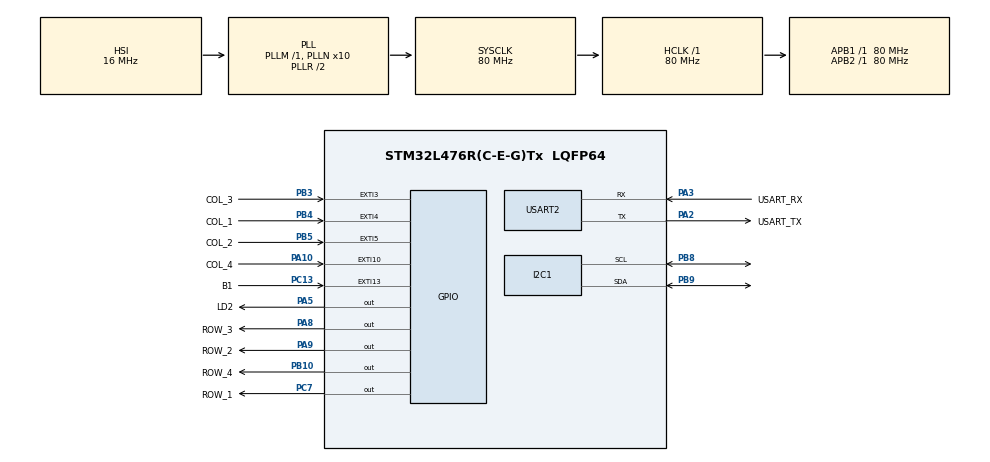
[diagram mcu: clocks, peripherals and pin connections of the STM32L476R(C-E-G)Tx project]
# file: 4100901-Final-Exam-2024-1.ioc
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I2C1.Timing=0x10909CEC
Mcu.Family=STM32L4
Mcu.Name=STM32L476R(C-E-G)Tx
Mcu.Package=LQFP64
NVIC.EXTI15_10_IRQn=true\:0\:0\:false\:false\:true\:true\:true\:true
NVIC.EXTI3_IRQn=true\:0\:0\:false\:false\:true\:true\:true\:true
NVIC.EXTI4_IRQn=true\:0\:0\:false\:false\:true\:true\:true\:true
NVIC.EXTI9_5_IRQn=true\:0\:0\:false\:false\:true\:true\:true\:true
NVIC.I2C1_ER_IRQn=true\:0\:0\:false\:false\:true\:true\:true\:true
NVIC.I2C1_EV_IRQn=true\:0\:0\:false\:false\:true\:true\:true\:true
NVIC.PriorityGroup=NVIC_PRIORITYGROUP_4
NVIC.USART2_IRQn=true\:0\:0\:false\:false\:true\:true\:true\:true
PA10.GPIO_Label=COL_4
PA10.GPIO_ModeDefaultEXTI=GPIO_MODE_IT_RISING
PA10.GPIO_PuPd=GPIO_PULLDOWN
PA10.Signal=GPXTI10
PA13\ (JTMS-SWDIO).GPIO_Label=TMS
PA13\ (JTMS-SWDIO).Mode=Serial_Wire
PA13\ (JTMS-SWDIO).Signal=SYS_JTMS-SWDIO
PA14\ (JTCK-SWCLK).GPIO_Label=TCK
PA14\ (JTCK-SWCLK).Mode=Serial_Wire
PA14\ (JTCK-SWCLK).Signal=SYS_JTCK-SWCLK
PA2.GPIO_Label=USART_TX
PA2.GPIO_Mode=GPIO_MODE_AF_PP
PA2.GPIO_PuPd=GPIO_NOPULL
PA2.GPIO_Speed=GPIO_SPEED_FREQ_VERY_HIGH
PA2.Mode=Asynchronous
PA2.Signal=USART2_TX
PA3.GPIO_Label=USART_RX
PA3.GPIO_Mode=GPIO_MODE_AF_PP
PA3.GPIO_PuPd=GPIO_NOPULL
PA3.GPIO_Speed=GPIO_SPEED_FREQ_VERY_HIGH
PA3.Mode=Asynchronous
PA3.Signal=USART2_RX
PA5.GPIO_Label=LD2
PA5.GPIO_ModeDefaultOutputPP=GPIO_MODE_OUTPUT_PP
PA5.GPIO_PuPd=GPIO_NOPULL
PA5.GPIO_Speed=GPIO_SPEED_FREQ_LOW
PA5.Signal=GPIO_Output
PA8.GPIO_Label=ROW_3
PA8.GPIO_Speed=GPIO_SPEED_FREQ_VERY_HIGH
PA8.PinState=GPIO_PIN_SET
PA8.Signal=GPIO_Output
PA9.GPIO_Label=ROW_2
PA9.GPIO_Speed=GPIO_SPEED_FREQ_VERY_HIGH
PA9.PinState=GPIO_PIN_SET
PA9.Signal=GPIO_Output
PB10.GPIO_Label=ROW_4
PB10.GPIO_Speed=GPIO_SPEED_FREQ_VERY_HIGH
PB10.PinState=GPIO_PIN_SET
PB10.Signal=GPIO_Output
PB3\ (JTDO-TRACESWO).GPIO_Label=COL_3
PB3\ (JTDO-TRACESWO).GPIO_ModeDefaultEXTI=GPIO_MODE_IT_RISING
PB3\ (JTDO-TRACESWO).GPIO_PuPd=GPIO_PULLDOWN
PB3\ (JTDO-TRACESWO).Signal=GPXTI3
PB4\ (NJTRST).GPIO_Label=COL_1
PB4\ (NJTRST).GPIO_ModeDefaultEXTI=GPIO_MODE_IT_RISING
PB4\ (NJTRST).GPIO_PuPd=GPIO_PULLDOWN
PB4\ (NJTRST).Signal=GPXTI4
PB5.GPIO_Label=COL_2
PB5.GPIO_ModeDefaultEXTI=GPIO_MODE_IT_RISING
PB5.GPIO_PuPd=GPIO_PULLDOWN
PB5.Signal=GPXTI5
PB8.Mode=I2C
PB8.Signal=I2C1_SCL
PB9.Mode=I2C
PB9.Signal=I2C1_SDA
PC13.GPIO_Label=B1
PC13.GPIO_ModeDefaultEXTI=GPIO_MODE_IT_FALLING
PC13.GPIO_PuPd=GPIO_NOPULL
PC13.Signal=GPXTI13
PC14-OSC32_IN\ (PC14).Mode=LSE-External-Oscillator
PC14-OSC32_IN\ (PC14).Signal=RCC_OSC32_IN
PC15-OSC32_OUT\ (PC15).Mode=LSE-External-Oscillator
PC15-OSC32_OUT\ (PC15).Signal=RCC_OSC32_OUT
PC7.GPIO_Label=ROW_1
PC7.GPIO_Speed=GPIO_SPEED_FREQ_VERY_HIGH
PC7.PinState=GPIO_PIN_SET
PC7.Signal=GPIO_Output
PH0-OSC_IN\ (PH0).Signal=RCC_OSC_IN
PH1-OSC_OUT\ (PH1).Signal=RCC_OSC_OUT
ProjectManager.HeapSize=0x200
ProjectManager.StackSize=0x400
ProjectManager.TargetToolchain=STM32CubeIDE
RCC.ADCFreq_Value=64000000
RCC.AHBFreq_Value=80000000
RCC.APB1Freq_Value=80000000
RCC.APB1TimFreq_Value=80000000
RCC.APB2Freq_Value=80000000
RCC.APB2TimFreq_Value=80000000
RCC.CortexFreq_Value=80000000
RCC.HCLKFreq_Value=80000000
RCC.HSE_VALUE=8000000
RCC.HSI_VALUE=16000000
RCC.MSI_VALUE=4000000
RCC.PLLN=10
RCC.PLLSourceVirtual=RCC_PLLSOURCE_HSI
RCC.PREFETCH_ENABLE=1
RCC.SYSCLKFreq_VALUE=80000000
RCC.SYSCLKSource=RCC_SYSCLKSOURCE_PLLCLK
RCC.USBFreq_Value=64000000
RCC.VCOOutputFreq_Value=160000000
USART2.VirtualMode-Asynchronous=VM_ASYNC
board=NUCLEO-L476RG

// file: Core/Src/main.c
/* USER CODE BEGIN Header */
/**
  ******************************************************************************
  * @file           : main.c
  * @brief          : Main program body
  ******************************************************************************
  * @attention
  *
  * Copyright (c) 2024 STMicroelectronics.
  * All rights reserved.
  *
  * This software is licensed under terms that can be found in the LICENSE file
  * in the root directory of this software component.
  * If no LICENSE file comes with this software, it is provided AS-IS.
  *
  ******************************************************************************
  */
/* USER CODE END Header */
#include "main.h"

/* USER CODE BEGIN Includes */
#include <stdio.h>

#include "ssd1306.h"
#include "ssd1306_fonts.h"

#include "ring_buffer.h"
#include "keypad.h"
/* USER CODE END Includes */

I2C_HandleTypeDef hi2c1;

UART_HandleTypeDef huart2;

/* USER CODE BEGIN PV */
#define KEYPAD_RB_LEN 4
uint8_t keypad_data = 0xFF;
uint8_t keypad_buffer[KEYPAD_RB_LEN];
ring_buffer_t keypad_rb;

#define USART2_RB_LEN 6
uint8_t usart2_data = 0xFF;
uint8_t usart2_buffer[USART2_RB_LEN];
ring_buffer_t usart2_rb;

uint8_t button = 0;
/* USER CODE END PV */

void SystemClock_Config(void);
static void MX_GPIO_Init(void);
static void MX_USART2_UART_Init(void);
static void MX_I2C1_Init(void);

/* USER CODE BEGIN 0 */
int _write(int file, char *ptr, int len)
{
  HAL_UART_Transmit(&huart2, (uint8_t *)ptr, len, 10);
  return len;
}

void HAL_UART_RxCpltCallback(UART_HandleTypeDef *huart)
{
	/* Data received in USART2 */
	if (huart->Instance == USART2) {
		if (usart2_data >= '0' && usart2_data <= '9') {
			ring_buffer_write(&usart2_rb, usart2_data);
			if (ring_buffer_is_full(&usart2_rb) != 0) {
				printf("LAST TEC: %c\r\n", usart2_data);
				if(usart2_data == '#'){
					ring_buffer_reset(&usart2_rb);
				}
			}
		}
		HAL_UART_Receive_IT(&huart2, &usart2_data, 1);
	}
}

void HAL_GPIO_EXTI_Callback(uint16_t GPIO_Pin)
{
	if (GPIO_Pin == B1_Pin) {
		button = 1;
		return;
	}
	uint8_t key_pressed = keypad_scan(GPIO_Pin);
	if (key_pressed != 0xFF) {
		ring_buffer_write(&keypad_rb, keypad_data);

		printf("ENTER KEY: %c\r\n", key_pressed);
		if (ring_buffer_is_full(&keypad_rb) != 0) {
			printf("LAST KEY: %c\r\n", key_pressed);
			if(key_pressed == '*'){
				ring_buffer_reset(&keypad_rb);
			}

		}
	}
}
/* USER CODE END 0 */

int main(void)
{

  /* MCU Configuration--------------------------------------------------------*/

  /* Reset of all peripherals, Initializes the Flash interface and the Systick. */
  HAL_Init();

  /* Configure the system clock */
  SystemClock_Config();

  /* Initialize all configured peripherals */
  MX_GPIO_Init();
  MX_USART2_UART_Init();
  MX_I2C1_Init();

  ring_buffer_init(&usart2_rb, usart2_buffer, USART2_RB_LEN);
  ring_buffer_init(&keypad_rb, keypad_buffer, KEYPAD_RB_LEN);
  /* USER CODE BEGIN 2 */
  ssd1306_Init();
  ssd1306_FillRectangle(37, 50, 97, 20, Black);
  ssd1306_SetCursor(40, 30);
  ssd1306_WriteString("Welcome!", Font_7x10, White);
  ssd1306_UpdateScreen();

  HAL_UART_Receive_IT(&huart2, &usart2_data, 1);
  /* USER CODE END 2 */

  /* Infinite loop */
  /* USER CODE BEGIN WHILE */
  printf("Starting\r\n");
  while (1)
  {
	  // Se almacean todos los datos en el array data
	  	  static uint8_t data[10];

	  // Si los dos ring buffers están llenos, se leen todos los datos
	  while (ring_buffer_is_full(&usart2_rb) == 1 && ring_buffer_is_full(&keypad_rb) == 1) {
		  printf("ENTRÉ !! : %c\r\n");
	// Se guarda el último valor de cada ring buffer
	  uint8_t read_key;
	  uint8_t read_tec;

	  // Se realiza un recorrido del total de los datos en cada ring buffer
	  for (uint8_t i = 0; i <= 10; i++){
		  // Primero se recorre el ring buffer del key pad
	  		  if(i >= 0 && i <4){
	  			ring_buffer_read(&keypad_rb, &read_key);
	  			data[i] = read_key;
	  		  }
	  		  // Luego el del usart
	  		if(i >= 4 && i <10){
	  			ring_buffer_read(&usart2_rb, &read_tec);
				data[i] = read_tec;
			  }
	  };

	  }
	  // Verificamos si el botón fue presionado
	  if(button == 1){
		  printf("PRESSS!!: %c\r\n");
		  // Se llama la función para hacer la suma y se guarda en la variable suma
		  uint32_t suma = keypad_sum(data);
		  printf("SUMA TOTAL: %d\r\n", suma);

		  // Si hay algo escrito, se borra:
		  ssd1306_FillRectangle(37, 50, 97, 20, Black);
		  ssd1306_SetCursor(40, 30);
		  ssd1306_UpdateScreen();

		  // Se escribe el mensaje en el ssd
		  ssd1306_WriteString("Success!", Font_7x10, White);
		  ssd1306_UpdateScreen();

		  // Se realiza la operación residuo para verificar que la suma sea par o impar
		  if(suma%2 == 0){
			  HAL_GPIO_WritePin(LD2_GPIO_Port, LD2_Pin, GPIO_PIN_SET);
		  }else{
			  HAL_GPIO_WritePin(LD2_GPIO_Port, LD2_Pin, GPIO_PIN_RESET);
		  }
		  button = 0;
	  }
    /* USER CODE END WHILE */

  }
}

void SystemClock_Config(void)
{
  RCC_OscInitTypeDef RCC_OscInitStruct = {0};
  RCC_ClkInitTypeDef RCC_ClkInitStruct = {0};

  /** Configure the main internal regulator output voltage
  */
  if (HAL_PWREx_ControlVoltageScaling(PWR_REGULATOR_VOLTAGE_SCALE1) != HAL_OK)
  {
    Error_Handler();
  }

  /** Initializes the RCC Oscillators according to the specified parameters
  * in the RCC_OscInitTypeDef structure.
  */
  RCC_OscInitStruct.OscillatorType = RCC_OSCILLATORTYPE_HSI;
  RCC_OscInitStruct.HSIState = RCC_HSI_ON;
  RCC_OscInitStruct.HSICalibrationValue = RCC_HSICALIBRATION_DEFAULT;
  RCC_OscInitStruct.PLL.PLLState = RCC_PLL_ON;
  RCC_OscInitStruct.PLL.PLLSource = RCC_PLLSOURCE_HSI;
  RCC_OscInitStruct.PLL.PLLM = 1;
  RCC_OscInitStruct.PLL.PLLN = 10;
  RCC_OscInitStruct.PLL.PLLP = RCC_PLLP_DIV7;
  RCC_OscInitStruct.PLL.PLLQ = RCC_PLLQ_DIV2;
  RCC_OscInitStruct.PLL.PLLR = RCC_PLLR_DIV2;
  if (HAL_RCC_OscConfig(&RCC_OscInitStruct) != HAL_OK)
  {
    Error_Handler();
  }

  /** Initializes the CPU, AHB and APB buses clocks
  */
  RCC_ClkInitStruct.ClockType = RCC_CLOCKTYPE_HCLK|RCC_CLOCKTYPE_SYSCLK
                              |RCC_CLOCKTYPE_PCLK1|RCC_CLOCKTYPE_PCLK2;
  RCC_ClkInitStruct.SYSCLKSource = RCC_SYSCLKSOURCE_PLLCLK;
  RCC_ClkInitStruct.AHBCLKDivider = RCC_SYSCLK_DIV1;
  RCC_ClkInitStruct.APB1CLKDivider = RCC_HCLK_DIV1;
  RCC_ClkInitStruct.APB2CLKDivider = RCC_HCLK_DIV1;

  if (HAL_RCC_ClockConfig(&RCC_ClkInitStruct, FLASH_LATENCY_4) != HAL_OK)
  {
    Error_Handler();
  }
}

static void MX_I2C1_Init(void)
{

  hi2c1.Instance = I2C1;
  hi2c1.Init.Timing = 0x10909CEC;
  hi2c1.Init.OwnAddress1 = 0;
  hi2c1.Init.AddressingMode = I2C_ADDRESSINGMODE_7BIT;
  hi2c1.Init.DualAddressMode = I2C_DUALADDRESS_DISABLE;
  hi2c1.Init.OwnAddress2 = 0;
  hi2c1.Init.OwnAddress2Masks = I2C_OA2_NOMASK;
  hi2c1.Init.GeneralCallMode = I2C_GENERALCALL_DISABLE;
  hi2c1.Init.NoStretchMode = I2C_NOSTRETCH_DISABLE;
  if (HAL_I2C_Init(&hi2c1) != HAL_OK)
  {
    Error_Handler();
  }

  /** Configure Analogue filter
  */
  if (HAL_I2CEx_ConfigAnalogFilter(&hi2c1, I2C_ANALOGFILTER_ENABLE) != HAL_OK)
  {
    Error_Handler();
  }

  /** Configure Digital filter
  */
  if (HAL_I2CEx_ConfigDigitalFilter(&hi2c1, 0) != HAL_OK)
  {
    Error_Handler();
  }

}

static void MX_USART2_UART_Init(void)
{

  huart2.Instance = USART2;
  huart2.Init.BaudRate = 115200;
  huart2.Init.WordLength = UART_WORDLENGTH_8B;
  huart2.Init.StopBits = UART_STOPBITS_1;
  huart2.Init.Parity = UART_PARITY_NONE;
  huart2.Init.Mode = UART_MODE_TX_RX;
  huart2.Init.HwFlowCtl = UART_HWCONTROL_NONE;
  huart2.Init.OverSampling = UART_OVERSAMPLING_16;
  huart2.Init.OneBitSampling = UART_ONE_BIT_SAMPLE_DISABLE;
  huart2.AdvancedInit.AdvFeatureInit = UART_ADVFEATURE_NO_INIT;
  if (HAL_UART_Init(&huart2) != HAL_OK)
  {
    Error_Handler();
  }

}

static void MX_GPIO_Init(void)
{
  GPIO_InitTypeDef GPIO_InitStruct = {0};

  /* GPIO Ports Clock Enable */
  __HAL_RCC_GPIOC_CLK_ENABLE();
  __HAL_RCC_GPIOH_CLK_ENABLE();
  __HAL_RCC_GPIOA_CLK_ENABLE();
  __HAL_RCC_GPIOB_CLK_ENABLE();

  /*Configure GPIO pin Output Level */
  HAL_GPIO_WritePin(LD2_GPIO_Port, LD2_Pin, GPIO_PIN_RESET);

  /*Configure GPIO pin Output Level */
  HAL_GPIO_WritePin(ROW_4_GPIO_Port, ROW_4_Pin, GPIO_PIN_SET);

  /*Configure GPIO pin Output Level */
  HAL_GPIO_WritePin(ROW_1_GPIO_Port, ROW_1_Pin, GPIO_PIN_SET);

  /*Configure GPIO pin Output Level */
  HAL_GPIO_WritePin(GPIOA, ROW_3_Pin|ROW_2_Pin, GPIO_PIN_SET);

  /*Configure GPIO pin : B1_Pin */
  GPIO_InitStruct.Pin = B1_Pin;
  GPIO_InitStruct.Mode = GPIO_MODE_IT_FALLING;
  GPIO_InitStruct.Pull = GPIO_NOPULL;
  HAL_GPIO_Init(B1_GPIO_Port, &GPIO_InitStruct);

  /*Configure GPIO pin : LD2_Pin */
  GPIO_InitStruct.Pin = LD2_Pin;
  GPIO_InitStruct.Mode = GPIO_MODE_OUTPUT_PP;
  GPIO_InitStruct.Pull = GPIO_NOPULL;
  GPIO_InitStruct.Speed = GPIO_SPEED_FREQ_LOW;
  HAL_GPIO_Init(LD2_GPIO_Port, &GPIO_InitStruct);

  /*Configure GPIO pin : ROW_4_Pin */
  GPIO_InitStruct.Pin = ROW_4_Pin;
  GPIO_InitStruct.Mode = GPIO_MODE_OUTPUT_PP;
  GPIO_InitStruct.Pull = GPIO_NOPULL;
  GPIO_InitStruct.Speed = GPIO_SPEED_FREQ_VERY_HIGH;
  HAL_GPIO_Init(ROW_4_GPIO_Port, &GPIO_InitStruct);

  /*Configure GPIO pin : ROW_1_Pin */
  GPIO_InitStruct.Pin = ROW_1_Pin;
  GPIO_InitStruct.Mode = GPIO_MODE_OUTPUT_PP;
  GPIO_InitStruct.Pull = GPIO_NOPULL;
  GPIO_InitStruct.Speed = GPIO_SPEED_FREQ_VERY_HIGH;
  HAL_GPIO_Init(ROW_1_GPIO_Port, &GPIO_InitStruct);

  /*Configure GPIO pins : ROW_3_Pin ROW_2_Pin */
  GPIO_InitStruct.Pin = ROW_3_Pin|ROW_2_Pin;
  GPIO_InitStruct.Mode = GPIO_MODE_OUTPUT_PP;
  GPIO_InitStruct.Pull = GPIO_NOPULL;
  GPIO_InitStruct.Speed = GPIO_SPEED_FREQ_VERY_HIGH;
  HAL_GPIO_Init(GPIOA, &GPIO_InitStruct);

  /*Configure GPIO pin : COL_4_Pin */
  GPIO_InitStruct.Pin = COL_4_Pin;
  GPIO_InitStruct.Mode = GPIO_MODE_IT_RISING;
  GPIO_InitStruct.Pull = GPIO_PULLDOWN;
  HAL_GPIO_Init(COL_4_GPIO_Port, &GPIO_InitStruct);

  /*Configure GPIO pins : COL_3_Pin COL_1_Pin COL_2_Pin */
  GPIO_InitStruct.Pin = COL_3_Pin|COL_1_Pin|COL_2_Pin;
  GPIO_InitStruct.Mode = GPIO_MODE_IT_RISING;
  GPIO_InitStruct.Pull = GPIO_PULLDOWN;
  HAL_GPIO_Init(GPIOB, &GPIO_InitStruct);

  /* EXTI interrupt init*/
  HAL_NVIC_SetPriority(EXTI3_IRQn, 0, 0);
  HAL_NVIC_EnableIRQ(EXTI3_IRQn);

  HAL_NVIC_SetPriority(EXTI4_IRQn, 0, 0);
  HAL_NVIC_EnableIRQ(EXTI4_IRQn);

  HAL_NVIC_SetPriority(EXTI9_5_IRQn, 0, 0);
  HAL_NVIC_EnableIRQ(EXTI9_5_IRQn);

  HAL_NVIC_SetPriority(EXTI15_10_IRQn, 0, 0);
  HAL_NVIC_EnableIRQ(EXTI15_10_IRQn);

}

void Error_Handler(void)
{
  __disable_irq();
  while (1)
  {
  }
}
